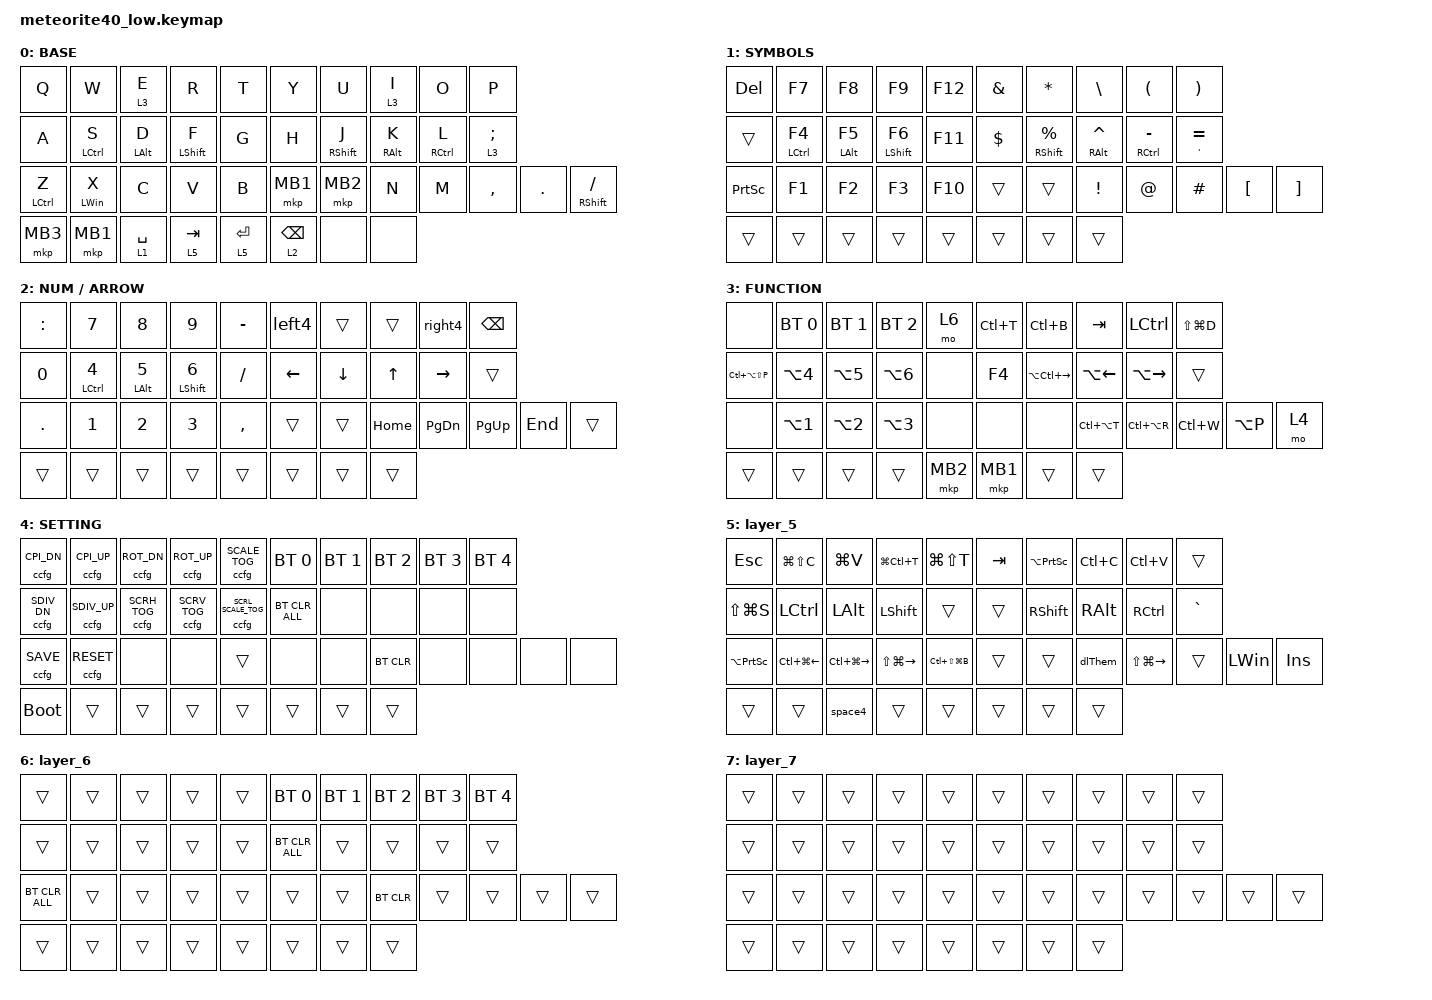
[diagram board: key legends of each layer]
#define ZMK_POINTING_DEFAULT_SCRL_VAL 200

#include <behaviors/custom_config.dtsi>
#include <behaviors/meteorite_custom_key.dtsi>
#include <behaviors/meteorite_bt_os.dtsi>
#include <behaviors/meteorite_mod_key.dtsi>
#include <behaviors/meteorite_os_key.dtsi>
#include <behaviors/studio_bt_disc.dtsi>
#include <dt-bindings/zmk/custom_config.h>
#include <dt-bindings/zmk/meteorite_custom_keys.h>
#include <dt-bindings/zmk/meteorite_bt_os.h>
#include <behaviors.dtsi>
#include <dt-bindings/zmk/bt.h>
#include <dt-bindings/zmk/keys.h>
#include <dt-bindings/zmk/pointing.h>

&mt {
    flavor = "tap-preferred"; // change hold to tap
    tapping-term-ms = <200>;
    meteorite-tapping-term-source = "mod-tap";
    quick-tap-ms = <150>; // change 200 to 150
    require-prior-idle-ms = <(-1)>;
};

&lt {
    flavor = "tap-preferred";
    tapping-term-ms = <150>; // change 200 to 150
    meteorite-tapping-term-source = "layer-tap";
    quick-tap-ms = <150>; // change 200 to 150
    require-prior-idle-ms = <(-1)>;
};

/ {
    behaviors {
        mck_mt: mck_mt {
            compatible = "zmk,behavior-hold-tap";
            #binding-cells = <2>;
            flavor = "tap-preferred";
            tapping-term-ms = <200>;
            meteorite-tapping-term-source = "mod-tap";
            bindings = <&mck>, <&kp>;

            display-name = "meteorite OS-Switch-mod-tap";
        };

        mck_mt_st: mck_mt_st {
            compatible = "zmk,behavior-hold-tap";
            #binding-cells = <2>;
            flavor = "tap-preferred";
            tapping-term-ms = <200>;
            meteorite-tapping-term-source = "mod-tap";
            bindings = <&mck>, <&alt_cmd_tab>;

            display-name = "meteorite OS-Switch-mod-tap (smart toggle)";
        };

        alt_cmd_tab: alt_cmd_tab {
            compatible = "zmk,behavior-smart-toggle";
            #binding-cells = <0>;
            display-name = "meteorite Smart toggle (Alt/Cmd+Tab)";
            bindings = <&mck M_OS_ALT_CMD>, <&kp TAB>;

            position-bindings = <12 13>; /* D, F */
            position-binding-behaviors = <&kp LS(TAB)>, <&kp TAB>;
        };

        enc_msc: encoder_mouse_scroll {
            compatible = "zmk,behavior-sensor-rotate-var";
            #sensor-binding-cells = <2>;
            bindings = <&msc>, <&msc>;

            tap-ms = <25>;
            display-name = "Encoder Mouse Scroll";
        };

        enc_kp: encoder_key_press {
            compatible = "zmk,behavior-sensor-rotate-var";
            #sensor-binding-cells = <2>;
            bindings = <&kp>, <&kp>;

            tap-ms = <25>;
            display-name = "Encoder Key Press";
        };
    };

    combos {
        compatible = "zmk,combos";

        lang1 {
            bindings = <&kp LANG1>;
            key-positions = <29 28>; /* D + F */
            layers = <0>;
        };

        lang2 {
            bindings = <&kp LANG2>;
            key-positions = <22 23>; /* J + K */
            layers = <0>;
        };

        esc {
            bindings = <&kp ESCAPE>;
            key-positions = <0 1>; /* Z + X */
            layers = <0>;
        };

        minus {
            bindings = <&kp MINUS>;
            key-positions = <18 19>;
        };

        single {
            bindings = <&kp SINGLE_QUOTE>;
            key-positions = <31 30>;
        };

        mb2 {
            bindings = <&mkp MB2>;
            key-positions = <13 12>;
        };

        mb3 {
            bindings = <&mkp MB3>;
            key-positions = <20 21>;
        };
    };

    macros {
        space4: space4 {
            compatible = "zmk,behavior-macro";
            #binding-cells = <0>;
            bindings = <&kp SPACE &kp SPACE &kp SPACE &kp SPACE>;
            label = "SPACE4";
        };

        left4: left4 {
            compatible = "zmk,behavior-macro";
            #binding-cells = <0>;
            bindings = <&kp LEFT &kp LEFT &kp LEFT &kp LEFT>;
            label = "LEFT4";
        };

        right4: right4 {
            compatible = "zmk,behavior-macro";
            #binding-cells = <0>;
            bindings = <&kp RIGHT &kp RIGHT &kp RIGHT &kp RIGHT>;
            label = "RIGHT4";
        };

        dlThem: dlThem {
            compatible = "zmk,behavior-macro";
            #binding-cells = <0>;
            bindings =
                <&kp LALT &kp T>,
                <&macro_wait_time 100>,
                <&kp UP>,
                <&macro_wait_time 100>,
                <&kp RIGHT>,
                <&macro_wait_time 100>,
                <&kp DOWN>,
                <&macro_wait_time 100>,
                <&kp ENTER>;

            label = "DLTHEM";
        };
    };

    keymap {
        compatible = "zmk,keymap";
        layout = &LOW_PROFILE_DEFAULT;

        win_default_layer {
            display-name = "BASE";
            bindings = <
&kp Q        &kp W        &lt 3 E         &kp R         &kp T        &kp Y       &kp U         &lt 3 I          &kp O        &kp P
&kp A        &mt LCTRL S  &mt LEFT_ALT D  &mt LSHIFT F  &kp G        &kp H       &mt RSHIFT J  &mt RIGHT_ALT K  &mt RCTRL L  &lt 3 SEMICOLON
&mt LCTRL Z  &mt LWIN X   &kp C           &kp V         &kp B        &mkp MB1    &mkp MB2      &kp N            &kp M        &kp COMMA        &kp DOT  &mt RSHIFT SLASH
&mkp MB3     &mkp MB1     &lt 1 SPACE     &lt 5 TAB     &lt 5 ENTER  &lt 2 BSPC  &none         &none
            >;
        };

        layer_1 {
            display-name = "SYMBOLS";
            bindings = <
&kp DELETE       &kp F7        &kp F8           &kp F9         &kp F12  &kp AMPERSAND  &kp ASTERISK        &kp BACKSLASH        &kp LEFT_PARENTHESIS  &kp RIGHT_PARENTHESIS
&trans           &mt LCTRL F4  &mt LEFT_ALT F5  &mt LSHIFT F6  &kp F11  &kp DOLLAR     &mt RSHIFT PERCENT  &mt RIGHT_ALT CARET  &mt RCTRL MINUS       &mt SQT EQUAL
&kp PRINTSCREEN  &kp F1        &kp F2           &kp F3         &kp F10  &trans         &trans              &kp EXCLAMATION      &kp AT_SIGN           &kp HASH               &kp LEFT_BRACKET  &kp RIGHT_BRACKET
&trans           &trans        &trans           &trans         &trans   &trans         &trans              &trans
            >;
        };

        layer_2 {
            display-name = "NUM / ARROW";
            bindings = <
&kp COLON   &kp N7              &kp N8           &kp N9               &kp MINUS  &left4    &trans    &trans    &right4        &kp BACKSPACE
&kp N0      &mt LCTRL NUMBER_4  &mt LEFT_ALT N5  &mt LSHIFT NUMBER_6  &kp SLASH  &kp LEFT  &kp DOWN  &kp UP    &kp RIGHT      &trans
&kp PERIOD  &kp N1              &kp N2           &kp N3               &kp COMMA  &trans    &trans    &kp HOME  &kp PAGE_DOWN  &kp PAGE_UP    &kp END  &trans
&trans      &trans              &trans           &trans               &trans     &trans    &trans    &trans
            >;
        };

        layer_3 {
            display-name = "FUNCTION";
            bindings = <
&none              &bt BT_SEL 0      &bt BT_SEL 1      &bt BT_SEL 2      &mo 6     &kp LC(T)  &kp LC(B)          &kp TAB        &kp LCTRL      &kp LS(LG(D))
&kp LC(LA(LS(P)))  &kp LA(NUMBER_4)  &kp LA(N5)        &kp LA(NUMBER_6)  &none     &kp F4     &kp LA(LC(RIGHT))  &kp LA(LEFT)   &kp LA(RIGHT)  &trans
&none              &kp LA(NUMBER_1)  &kp LA(NUMBER_2)  &kp LA(NUMBER_3)  &none     &none      &none              &kp LC(LA(T))  &kp LC(LA(R))  &kp LC(W)      &kp LA(P)  &mo 4
&trans             &trans            &trans            &trans            &mkp MB2  &mkp MB1   &trans             &trans
            >;
        };

        layer_4 {
            display-name = "SETTING";
            bindings = <
&ccfg C_CPI_DN   &ccfg C_CPI_UP   &ccfg C_ROT_DN    &ccfg C_ROT_UP    &ccfg C_SCALE_TOG       &bt BT_SEL 0    &bt BT_SEL 1  &bt BT_SEL 2  &bt BT_SEL 3  &bt BT_SEL 4
&ccfg C_SDIV_DN  &ccfg C_SDIV_UP  &ccfg C_SCRH_TOG  &ccfg C_SCRV_TOG  &ccfg C_SCRL_SCALE_TOG  &bt BT_CLR_ALL  &none         &none         &none         &none
&ccfg C_SAVE     &ccfg C_RESET    &none             &none             &trans                  &none           &none         &bt BT_CLR    &none         &none         &none  &none
&bootloader      &trans           &trans            &trans            &trans                  &trans          &trans        &trans
            >;
        };

        layer_5 {
            bindings = <
&kp ESCAPE           &kp LG(LS(C))     &kp LG(V)          &kp LG(LC(T))      &kp LG(LS(T))      &kp TAB  &kp LA(PRINTSCREEN)  &kp LC(C)      &kp LC(V)          &trans
&kp LS(LG(S))        &kp LCTRL         &kp LEFT_ALT       &kp LSHIFT         &trans             &trans   &kp RSHIFT           &kp RIGHT_ALT  &kp RCTRL          &kp GRAVE
&kp LA(PRINTSCREEN)  &kp LC(LG(LEFT))  &kp LC(LG(RIGHT))  &kp LS(LG(RIGHT))  &kp LC(LS(LG(B)))  &trans   &trans               &dlThem        &kp LS(LG(RIGHT))  &trans     &kp LWIN  &kp INSERT
&trans               &trans            &space4            &trans             &trans             &trans   &trans               &trans
            >;
        };

        layer_6 {
            bindings = <
&trans          &trans  &trans  &trans  &trans  &bt BT_SEL 0    &bt BT_SEL 1  &bt BT_SEL 2  &bt BT_SEL 3  &bt BT_SEL 4
&trans          &trans  &trans  &trans  &trans  &bt BT_CLR_ALL  &trans        &trans        &trans        &trans
&bt BT_CLR_ALL  &trans  &trans  &trans  &trans  &trans          &trans        &bt BT_CLR    &trans        &trans        &trans  &trans
&trans          &trans  &trans  &trans  &trans  &trans          &trans        &trans
            >;
        };

        layer_7 {
            bindings = <
&trans  &trans  &trans  &trans  &trans  &trans  &trans  &trans  &trans  &trans
&trans  &trans  &trans  &trans  &trans  &trans  &trans  &trans  &trans  &trans
&trans  &trans  &trans  &trans  &trans  &trans  &trans  &trans  &trans  &trans  &trans  &trans
&trans  &trans  &trans  &trans  &trans  &trans  &trans  &trans
            >;
        };
    };
};
